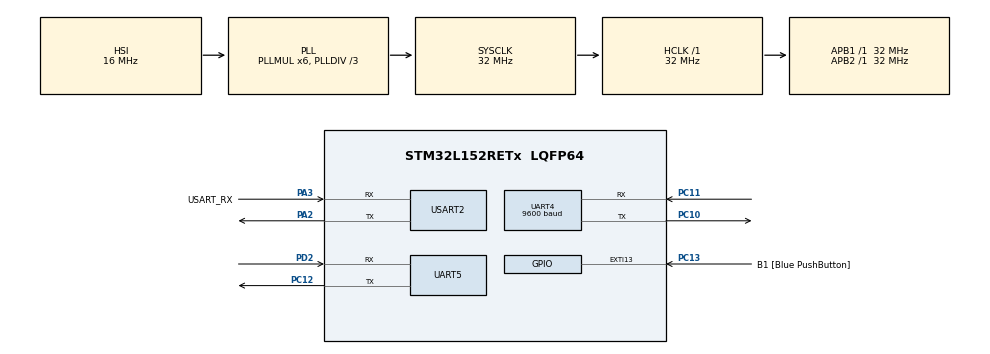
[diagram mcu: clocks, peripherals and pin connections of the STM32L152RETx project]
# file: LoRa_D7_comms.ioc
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Mcu.Family=STM32L1
Mcu.Name=STM32L152RETx
Mcu.Package=LQFP64
NVIC.PriorityGroup=NVIC_PRIORITYGROUP_0
NVIC.UART4_IRQn=true\:0\:0\:false\:false\:true\:true
NVIC.USART2_IRQn=true\:0\:0\:false\:false\:true\:true
PA13.GPIO_Label=TMS
PA13.Signal=SYS_JTMS-SWDIO
PA14.GPIO_Label=TCK
PA14.Signal=SYS_JTCK-SWCLK
PA2.Mode=Asynchronous
PA2.Signal=USART2_TX
PA3.GPIO_Label=USART_RX
PA3.Mode=Asynchronous
PA3.Signal=USART2_RX
PB3.GPIO_Label=SWO
PB3.Signal=SYS_JTDO-TRACESWO
PC10.Mode=Asynchronous
PC10.Signal=UART4_TX
PC11.Mode=Asynchronous
PC11.Signal=UART4_RX
PC12.Mode=Asynchronous
PC12.Signal=UART5_TX
PC13-WKUP2.GPIO_Label=B1 [Blue PushButton]
PC13-WKUP2.Signal=GPXTI13
PC14-OSC32_IN.Signal=RCC_OSC32_IN
PC15-OSC32_OUT.Signal=RCC_OSC32_OUT
PD2.Mode=Asynchronous
PD2.Signal=UART5_RX
PH0-OSC_IN.Signal=RCC_OSC_IN
PH1-OSC_OUT.Signal=RCC_OSC_OUT
ProjectManager.HeapSize=0x200
ProjectManager.StackSize=0x400
ProjectManager.TargetToolchain=SW4STM32
RCC.48MHZClocksFreq_Value=48000000
RCC.AHBFreq_Value=32000000
RCC.APB1Freq_Value=32000000
RCC.APB1TimFreq_Value=32000000
RCC.APB2Freq_Value=32000000
RCC.APB2TimFreq_Value=32000000
RCC.HCLKFreq_Value=32000000
RCC.HSE_VALUE=8000000
RCC.HSI_VALUE=16000000
RCC.LSE_VALUE=32768
RCC.MSI_VALUE=2097000
RCC.PLLDIV=RCC_PLL_DIV3
RCC.PLLMUL=RCC_PLL_MUL6
RCC.RTCClockSelectionVirtual=RCC_RTCCLKSOURCE_LSE
RCC.SYSCLKFreq_VALUE=32000000
RCC.SYSCLKSource=RCC_SYSCLKSOURCE_PLLCLK
RCC.USBOutput=48000000
RCC.VCOOutputFreq_Value=96000000
UART4.BaudRate=9600
UART4.VirtualMode=Asynchronous
UART5.VirtualMode=Asynchronous
USART2.VirtualMode=VM_ASYNC
board=NUCLEO-L152RE

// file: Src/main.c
/**
  ******************************************************************************
  * File Name          : main.c
  * Description        : Main program body
  ******************************************************************************
  ** This notice applies to any and all portions of this file
  * that are not between comment pairs USER CODE BEGIN and
  * USER CODE END. Other portions of this file, whether
  * inserted by the user or by software development tools
  * are owned by their respective copyright owners.
  *
  * COPYRIGHT(c) 2017 STMicroelectronics
  *
  * Redistribution and use in source and binary forms, with or without modification,
  * are permitted provided that the following conditions are met:
  *   1. Redistributions of source code must retain the above copyright notice,
  *      this list of conditions and the following disclaimer.
  *   2. Redistributions in binary form must reproduce the above copyright notice,
  *      this list of conditions and the following disclaimer in the documentation
  *      and/or other materials provided with the distribution.
  *   3. Neither the name of STMicroelectronics nor the names of its contributors
  *      may be used to endorse or promote products derived from this software
  *      without specific prior written permission.
  *
  * THIS SOFTWARE IS PROVIDED BY THE COPYRIGHT HOLDERS AND CONTRIBUTORS "AS IS"
  * AND ANY EXPRESS OR IMPLIED WARRANTIES, INCLUDING, BUT NOT LIMITED TO, THE
  * IMPLIED WARRANTIES OF MERCHANTABILITY AND FITNESS FOR A PARTICULAR PURPOSE ARE
  * DISCLAIMED. IN NO EVENT SHALL THE COPYRIGHT HOLDER OR CONTRIBUTORS BE LIABLE
  * FOR ANY DIRECT, INDIRECT, INCIDENTAL, SPECIAL, EXEMPLARY, OR CONSEQUENTIAL
  * DAMAGES (INCLUDING, BUT NOT LIMITED TO, PROCUREMENT OF SUBSTITUTE GOODS OR
  * SERVICES; LOSS OF USE, DATA, OR PROFITS; OR BUSINESS INTERRUPTION) HOWEVER
  * CAUSED AND ON ANY THEORY OF LIABILITY, WHETHER IN CONTRACT, STRICT LIABILITY,
  * OR TORT (INCLUDING NEGLIGENCE OR OTHERWISE) ARISING IN ANY WAY OUT OF THE USE
  * OF THIS SOFTWARE, EVEN IF ADVISED OF THE POSSIBILITY OF SUCH DAMAGE.
  *
  ******************************************************************************
  */

#include "main.h"
#include "stm32l1xx_hal.h"

/* USER CODE BEGIN Includes */
#include <string.h>
#include <stdlib.h>
/* USER CODE END Includes */

UART_HandleTypeDef huart4;
UART_HandleTypeDef huart5;
UART_HandleTypeDef huart2;

/* USER CODE BEGIN PV */
/* Private variables ---------------------------------------------------------*/
static volatile enum LoRaWANState {
	startup,
	joining_network,
	verify_network_join,
	joined_network,
	tx_rx,
} loRaWANState = startup;
static char AT_return_code[7] = "";//contains the AT_return_code
static char* loRaWANSendCmdAndData = NULL;//pointer to string used to build complete AT_send_cmd including data
//must be reset to all \0 using memset after every use

/* USER CODE END PV */

void SystemClock_Config(void);
static void MX_GPIO_Init(void);
static void MX_UART4_Init(void);
static void MX_USART2_UART_Init(void);
static void MX_UART5_Init(void);

/* USER CODE BEGIN PFP */
/* Private function prototypes -----------------------------------------------*/
static uint8_t joinLoRaWANnetwork();//must be called to join LoRaWAN network
static uint8_t transmitLoRaWANData(uint8_t*);//used to transmit data with AT commands
static uint8_t verifyLoRaNetworkjoin();
static uint8_t receiveD7Data();

/* USER CODE END PFP */

int main(void)
{

  /* MCU Configuration----------------------------------------------------------*/

  /* Reset of all peripherals, Initializes the Flash interface and the Systick. */
  HAL_Init();

  /* Configure the system clock */
  SystemClock_Config();

  /* Initialize all configured peripherals */
  MX_GPIO_Init();
  MX_UART4_Init();
  MX_USART2_UART_Init();
  MX_UART5_Init();

  /* USER CODE BEGIN 2 */
  char data[] = "51.2164:4.4025";
  /* USER CODE END 2 */

  /* Infinite loop */
  while (1)
  {
  /* USER CODE BEGIN 3 */
	  switch(loRaWANState){
	  case startup:
		  loRaWANState = joining_network;//set state to joining network
		  HAL_UART_Transmit_IT(&huart2, "starting connection", strlen("starting connection"));
	  	  break;
	  case joining_network:
		  joinLoRaWANnetwork();
		  break;
	  case verify_network_join:
		  HAL_UART_Transmit_IT(&huart2, "nw join command issued", strlen("nw join command issued"));
		  verifyLoRaNetworkjoin();
		  break;
	  case joined_network:
		  HAL_UART_Transmit_IT(&huart2, "transmitting data", strlen("transmitting data"));
		  loRaWANState = tx_rx;
		  transmitLoRaWANData((uint8_t*)data);
		  break;
	  case tx_rx:
		  break;
	  default:
		  break;
	  }
  }
  /* USER CODE END 3 */

}

/** System Clock Configuration
*/
void SystemClock_Config(void)
{

  RCC_OscInitTypeDef RCC_OscInitStruct;
  RCC_ClkInitTypeDef RCC_ClkInitStruct;

    /**Configure the main internal regulator output voltage
    */
  __HAL_PWR_VOLTAGESCALING_CONFIG(PWR_REGULATOR_VOLTAGE_SCALE1);

    /**Initializes the CPU, AHB and APB busses clocks
    */
  RCC_OscInitStruct.OscillatorType = RCC_OSCILLATORTYPE_HSI;
  RCC_OscInitStruct.HSIState = RCC_HSI_ON;
  RCC_OscInitStruct.HSICalibrationValue = 16;
  RCC_OscInitStruct.PLL.PLLState = RCC_PLL_ON;
  RCC_OscInitStruct.PLL.PLLSource = RCC_PLLSOURCE_HSI;
  RCC_OscInitStruct.PLL.PLLMUL = RCC_PLL_MUL6;
  RCC_OscInitStruct.PLL.PLLDIV = RCC_PLL_DIV3;
  if (HAL_RCC_OscConfig(&RCC_OscInitStruct) != HAL_OK)
  {
    _Error_Handler(__FILE__, __LINE__);
  }

    /**Initializes the CPU, AHB and APB busses clocks
    */
  RCC_ClkInitStruct.ClockType = RCC_CLOCKTYPE_HCLK|RCC_CLOCKTYPE_SYSCLK
                              |RCC_CLOCKTYPE_PCLK1|RCC_CLOCKTYPE_PCLK2;
  RCC_ClkInitStruct.SYSCLKSource = RCC_SYSCLKSOURCE_PLLCLK;
  RCC_ClkInitStruct.AHBCLKDivider = RCC_SYSCLK_DIV1;
  RCC_ClkInitStruct.APB1CLKDivider = RCC_HCLK_DIV1;
  RCC_ClkInitStruct.APB2CLKDivider = RCC_HCLK_DIV1;

  if (HAL_RCC_ClockConfig(&RCC_ClkInitStruct, FLASH_LATENCY_1) != HAL_OK)
  {
    _Error_Handler(__FILE__, __LINE__);
  }

    /**Configure the Systick interrupt time
    */
  HAL_SYSTICK_Config(HAL_RCC_GetHCLKFreq()/1000);

    /**Configure the Systick
    */
  HAL_SYSTICK_CLKSourceConfig(SYSTICK_CLKSOURCE_HCLK);

  /* SysTick_IRQn interrupt configuration */
  HAL_NVIC_SetPriority(SysTick_IRQn, 0, 0);
}

/* UART4 init function */
static void MX_UART4_Init(void)
{

  huart4.Instance = UART4;
  huart4.Init.BaudRate = 9600;
  huart4.Init.WordLength = UART_WORDLENGTH_8B;
  huart4.Init.StopBits = UART_STOPBITS_1;
  huart4.Init.Parity = UART_PARITY_NONE;
  huart4.Init.Mode = UART_MODE_TX_RX;
  huart4.Init.HwFlowCtl = UART_HWCONTROL_NONE;
  huart4.Init.OverSampling = UART_OVERSAMPLING_16;
  if (HAL_UART_Init(&huart4) != HAL_OK)
  {
    _Error_Handler(__FILE__, __LINE__);
  }

}

/* UART5 init function */
static void MX_UART5_Init(void)
{

  huart5.Instance = UART5;
  huart5.Init.BaudRate = 115200;
  huart5.Init.WordLength = UART_WORDLENGTH_8B;
  huart5.Init.StopBits = UART_STOPBITS_1;
  huart5.Init.Parity = UART_PARITY_NONE;
  huart5.Init.Mode = UART_MODE_TX_RX;
  huart5.Init.HwFlowCtl = UART_HWCONTROL_NONE;
  huart5.Init.OverSampling = UART_OVERSAMPLING_16;
  if (HAL_UART_Init(&huart5) != HAL_OK)
  {
    _Error_Handler(__FILE__, __LINE__);
  }

}

/* USART2 init function */
static void MX_USART2_UART_Init(void)
{

  huart2.Instance = USART2;
  huart2.Init.BaudRate = 115200;
  huart2.Init.WordLength = UART_WORDLENGTH_8B;
  huart2.Init.StopBits = UART_STOPBITS_1;
  huart2.Init.Parity = UART_PARITY_NONE;
  huart2.Init.Mode = UART_MODE_TX_RX;
  huart2.Init.HwFlowCtl = UART_HWCONTROL_NONE;
  huart2.Init.OverSampling = UART_OVERSAMPLING_16;
  if (HAL_UART_Init(&huart2) != HAL_OK)
  {
    _Error_Handler(__FILE__, __LINE__);
  }

}

/** Configure pins as
        * Analog
        * Input
        * Output
        * EVENT_OUT
        * EXTI
*/
static void MX_GPIO_Init(void)
{

  GPIO_InitTypeDef GPIO_InitStruct;

  /* GPIO Ports Clock Enable */
  __HAL_RCC_GPIOC_CLK_ENABLE();
  __HAL_RCC_GPIOH_CLK_ENABLE();
  __HAL_RCC_GPIOA_CLK_ENABLE();
  __HAL_RCC_GPIOD_CLK_ENABLE();
  __HAL_RCC_GPIOB_CLK_ENABLE();

  /*Configure GPIO pin : B1_Pin */
  GPIO_InitStruct.Pin = B1_Pin;
  GPIO_InitStruct.Mode = GPIO_MODE_IT_RISING;
  GPIO_InitStruct.Pull = GPIO_NOPULL;
  HAL_GPIO_Init(B1_GPIO_Port, &GPIO_InitStruct);

}

/* USER CODE BEGIN 4 */
uint8_t joinLoRaWANnetwork(){
	char AT_join_cmd[] = "AT+JOIN\r\n";
	if (HAL_UART_GetState(&huart4)!=HAL_UART_STATE_BUSY){
		__HAL_UART_FLUSH_DRREGISTER(&huart4);
		HAL_UART_Receive_IT(&huart4, (uint8_t*)AT_return_code,6);//receiving with interrupts just doesn't make sense here
		HAL_UART_Transmit_IT(&huart4, (uint8_t*)AT_join_cmd, strlen(AT_join_cmd));//strlen excludes \0 so it's ok
		// wait for max delay. Unfortunate but I wouldn't know how to fix through interrupts
		HAL_UART_Transmit_IT(&huart2, (uint8_t*)AT_return_code, strlen(AT_return_code));
		return 0;
		//if the UART was not busy, the command is being sent;
		//verify success once receive is done.
	}
	else return 1;
		// else the UART is busy with another operation, hold off
}

uint8_t verifyLoRaNetworkjoin(){
	char AT_NJS_cmd[] = "AT+NJS=?\r\n";
	if (HAL_UART_GetState(&huart4)!=HAL_UART_STATE_BUSY){
		__HAL_UART_FLUSH_DRREGISTER(&huart4);
		HAL_UART_Receive_IT(&huart4, (uint8_t*)AT_return_code, 3);
		HAL_UART_Transmit_IT(&huart4, (uint8_t*)AT_NJS_cmd, strlen(AT_NJS_cmd));//strlen excludes \0 so it's ok
		return 0;
		//if the UART was not busy, the command is being sent;
		//verify success once receive is done.
	}
	else return 1;
	// else the UART is busy, retry later
}

uint8_t transmitLoRaWANData(uint8_t* data){
	char AT_SEND_cmd[] = "AT+SEND=2:";
	if (HAL_UART_GetState(&huart4)!=HAL_UART_STATE_BUSY){
		if (loRaWANSendCmdAndData != NULL)
			free(loRaWANSendCmdAndData);
		loRaWANSendCmdAndData = (char*)malloc((strlen(data)+strlen(AT_SEND_cmd)+2)*sizeof(char));
		strncpy(loRaWANSendCmdAndData, AT_SEND_cmd, 10);
		strncpy(&loRaWANSendCmdAndData[10], data, strlen(data));
		strcpy(&loRaWANSendCmdAndData[strlen(data)+strlen(AT_SEND_cmd)], "\r\n");
		__HAL_UART_FLUSH_DRREGISTER(&huart4);
		//HAL_UART_Transmit(&huart2, "starting transmit", strlen("starting transmit"), HAL_MAX_DELAY);
		HAL_UART_Receive_IT(&huart4, (uint8_t*)AT_return_code,6);
		HAL_UART_Transmit_IT(&huart4, loRaWANSendCmdAndData, strlen(loRaWANSendCmdAndData));
		//HAL_UART_Transmit(&huart2, "verifying return code", strlen("verifying return code"), HAL_MAX_DELAY);
		//if these are equal the network was joined succesfully
		HAL_UART_Transmit_IT(&huart2, "freeing resources", strlen("freeing resources"));
		return 0;
	}
	else return 1;
	//return 1 is either UART busy, or one of the other possible return values of LoRaWAN Modem
}

void HAL_UART_RxCpltCallback(UART_HandleTypeDef *UartHandle){
	//callback on receive complete, might be usefull later on
	if (UartHandle == &huart2){
		//insert code here
	} else if(UartHandle == &huart4){
		switch(loRaWANState){
		case joining_network:
			if (strcmp(AT_return_code,"\r\nOK\r\n")==0){
				loRaWANState = verify_network_join;
				//if the command was unseccessful, it will be retried next main iteration
				//if the command was successful, we go to verification of network join
			}
			memset(AT_return_code, 0, sizeof(AT_return_code)/sizeof(char));
			//memset resets the AT_return_code
			break;
		case verify_network_join:
			if (strcmp(AT_return_code,"1\r\n")==0){
				loRaWANState = joined_network;
				//if the return value of verify_network_join is 1, we joined the network
				//else the join has not been completed (but is in progress)
			}
			memset(AT_return_code, 0, sizeof(AT_return_code)/sizeof(char));
			//again, reset the AT_return_buffer after complete
			break;
		case joined_network: break;
		case tx_rx:
			if (strcmp(AT_return_code,"\r\nOK\r\n")==0){
				HAL_UART_Transmit_IT(&huart2, "transmit_done", strlen("transmit_done"));
				loRaWANState = joined_network;
				//if the return code is OK the modem will take care of the rest of the
				//transmission, so we're fine
				//else the something went wrong, we can try again next main iteration
			}
			memset(AT_return_code, 0, sizeof(AT_return_code)/sizeof(char));
			//memset resets the AT_return_code
			break;
		default: break;
		}
	} else if(UartHandle == &huart5){
		//insert code here
	} else {
		//insert code here
	}

}

void HAL_UART_TxCpltCallback(UART_HandleTypeDef *UartHandle){
	//callback on transmit complete, might be usefull later on
	if (UartHandle == &huart2){
		//insert code here
	} else if(UartHandle == &huart4){
		//insert code here
	} else if(UartHandle == &huart5){
		//insert code here
	} else {
		//insert code here
	}
}
/* USER CODE END 4 */

void _Error_Handler(char * file, int line)
{
  while(1)
  {
  }
}

/************************ (C) COPYRIGHT STMicroelectronics *****END OF FILE****/
